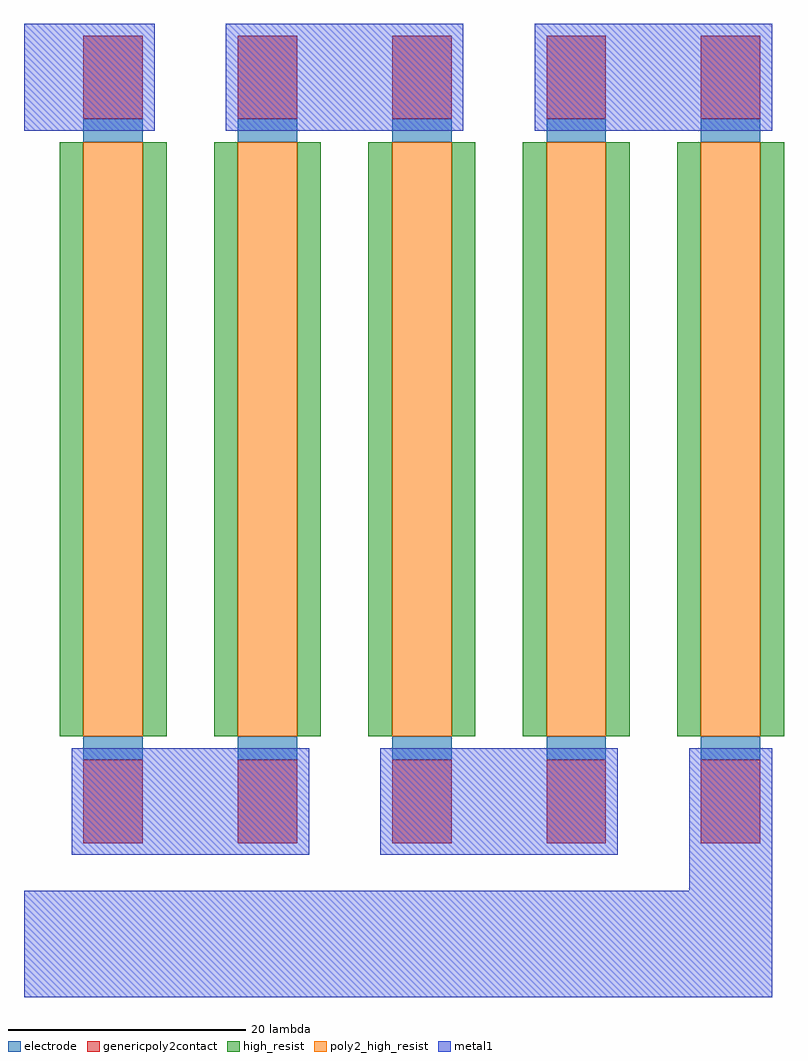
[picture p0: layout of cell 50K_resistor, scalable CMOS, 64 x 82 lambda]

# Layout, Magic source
magic
tech scmos
<< metal1 >>
rect 143 261 154 270
rect 160 261 180 270
rect 186 261 206 270
rect 147 200 167 209
rect 173 200 193 209
rect 199 197 206 209
rect 143 188 206 197
use 10K_resistor  10K_resistor_0
array 0 4 13 0 0 70
transform 1 0 -41 0 1 6
box 187 194 196 264
<< end >>

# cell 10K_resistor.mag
magic
tech scmos
<< electrode >>
rect 189 254 194 256
rect 189 202 194 204
<< genericpoly2contact >>
rect 189 256 194 263
rect 189 195 194 202
<< metal1 >>
rect 188 255 195 264
rect 188 194 195 203
<< high_resist >>
rect 187 204 189 254
rect 194 204 196 254
<< poly2_high_resist >>
rect 189 204 194 254
<< end >>
